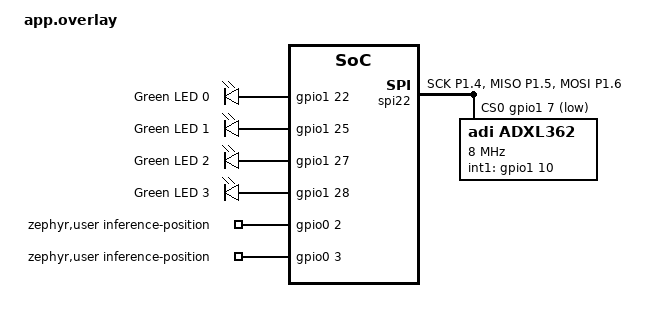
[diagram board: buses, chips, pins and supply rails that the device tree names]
/*
 * Copyright (c) 2025 Nordic Semiconductor ASA
 *
 * SPDX-License-Identifier: LicenseRef-Nordic-5-Clause
 */

/ {
	chosen {
		ncs,ml-app-ei-data-forwarder-uart = &uart20;
	};

	/* Redefine leds to fit CAF requirements. */
	/delete-node/ leds;

	leds012 {
		compatible = "gpio-leds";
		status = "okay";
		label = "ML State LED";

		led0: led_0 {
			gpios = <&gpio1 22 GPIO_ACTIVE_HIGH>;
			label = "Green LED 0";
		};

		led1: led_1 {
			gpios = <&gpio1 25 GPIO_ACTIVE_HIGH>;
			label = "Green LED 1";
		};

		led2: led_2 {
			gpios = <&gpio1 27 GPIO_ACTIVE_HIGH>;
			label = "Green LED 2";
		};
	};

	leds3 {
		compatible = "gpio-leds";
		led3: led_3 {
			gpios = <&gpio1 28 GPIO_ACTIVE_HIGH>;
			label = "Green LED 3";
		};
	};

	zephyr,user {
		inference-position-gpios = <&gpio0 2 GPIO_ACTIVE_HIGH>,
		                           <&gpio0 3 GPIO_ACTIVE_HIGH>;
	};

	aliases {
		accel0 = &adxl362;
	};
};

&pinctrl {
	spi22_default: spi22_default {
		group1 {
			psels = <NRF_PSEL(SPIM_SCK, 1, 4)>,
			        <NRF_PSEL(SPIM_MISO, 1, 5)>,
			        <NRF_PSEL(SPIM_MOSI, 1, 6)>;
			bias-pull-down;
		};
	};

	spi22_sleep: spi22_sleep {
		group1 {
			psels = <NRF_PSEL(SPIM_SCK, 1, 4)>,
			        <NRF_PSEL(SPIM_MISO, 1, 5)>,
			        <NRF_PSEL(SPIM_MOSI, 1, 6)>;
			bias-pull-down;
			low-power-enable;
		};
	};
};

&spi22 {
	compatible = "nordic,nrf-spim";
	status = "okay";
	pinctrl-0 = <&spi22_default>;
	pinctrl-1 = <&spi22_sleep>;
	pinctrl-names = "default", "sleep";
	overrun-character = <0x00>;
	zephyr,pm-device-runtime-auto;
	cs-gpios = <&gpio1 7 GPIO_ACTIVE_LOW>;

	adxl362: adxl362@0 {
		compatible = "adi,adxl362";
		status = "okay";
		reg = <0>;
		int1-gpios = <&gpio1 10 (GPIO_ACTIVE_HIGH)>;
		spi-max-frequency = <DT_FREQ_M(8)>;
	};
};
